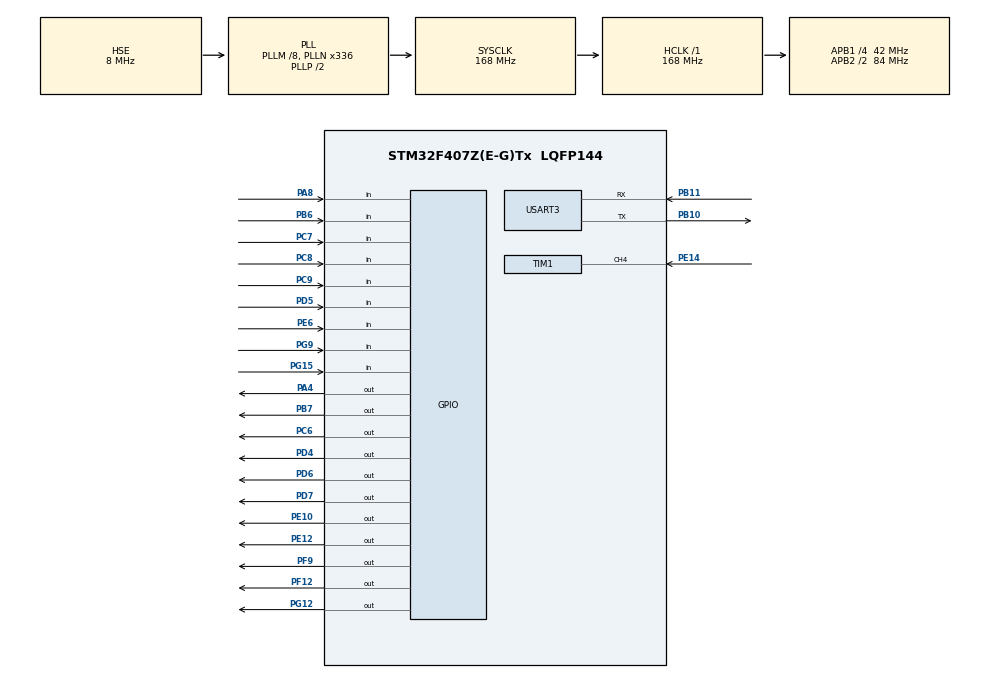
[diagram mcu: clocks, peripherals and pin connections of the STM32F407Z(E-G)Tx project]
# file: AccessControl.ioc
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Mcu.Family=STM32F4
Mcu.Name=STM32F407Z(E-G)Tx
Mcu.Package=LQFP144
NVIC.PriorityGroup=NVIC_PRIORITYGROUP_4
NVIC.TIM1_CC_IRQn=true\:0\:0\:false\:false\:true\:true\:true\:true
NVIC.USART3_IRQn=true\:0\:0\:false\:false\:true\:true\:true\:true
PA13.Mode=Serial_Wire
PA13.Signal=SYS_JTMS-SWDIO
PA14.Mode=Serial_Wire
PA14.Signal=SYS_JTCK-SWCLK
PA4.Signal=GPIO_Output
PA8.GPIO_PuPd=GPIO_PULLUP
PA8.Signal=GPIO_Input
PB10.Mode=Asynchronous
PB10.Signal=USART3_TX
PB11.Mode=Asynchronous
PB11.Signal=USART3_RX
PB6.Signal=GPIO_Input
PB7.Signal=GPIO_Output
PC6.Signal=GPIO_Output
PC7.Signal=GPIO_Input
PC8.GPIO_PuPd=GPIO_PULLUP
PC8.Signal=GPIO_Input
PC9.Signal=GPIO_Input
PD4.Signal=GPIO_Output
PD5.Signal=GPIO_Input
PD6.PinState=GPIO_PIN_SET
PD6.Signal=GPIO_Output
PD7.Signal=GPIO_Output
PE10.Signal=GPIO_Output
PE12.PinState=GPIO_PIN_RESET
PE12.Signal=GPIO_Output
PE14.Signal=S_TIM1_CH4
PE6.GPIO_PuPd=GPIO_PULLUP
PE6.Signal=GPIO_Input
PF12.PinState=GPIO_PIN_SET
PF12.Signal=GPIO_Output
PF9.GPIO_ModeDefaultOutputPP=GPIO_MODE_OUTPUT_PP
PF9.PinState=GPIO_PIN_SET
PF9.Signal=GPIO_Output
PG12.Signal=GPIO_Output
PG15.Signal=GPIO_Input
PG9.GPIO_PuPd=GPIO_PULLUP
PG9.Signal=GPIO_Input
PH0-OSC_IN.Mode=HSE-External-Oscillator
PH0-OSC_IN.Signal=RCC_OSC_IN
PH1-OSC_OUT.Mode=HSE-External-Oscillator
PH1-OSC_OUT.Signal=RCC_OSC_OUT
ProjectManager.HeapSize=0x200
ProjectManager.StackSize=0x400
ProjectManager.TargetToolchain=MDK-ARM V5.32
RCC.48MHZClocksFreq_Value=84000000
RCC.AHBFreq_Value=168000000
RCC.APB1CLKDivider=RCC_HCLK_DIV4
RCC.APB1Freq_Value=42000000
RCC.APB1TimFreq_Value=84000000
RCC.APB2CLKDivider=RCC_HCLK_DIV2
RCC.APB2Freq_Value=84000000
RCC.APB2TimFreq_Value=168000000
RCC.CortexFreq_Value=168000000
RCC.HCLKFreq_Value=168000000
RCC.HSE_VALUE=8000000
RCC.HSI_VALUE=16000000
RCC.LSE_VALUE=32768
RCC.PLLM=8
RCC.PLLN=336
RCC.PLLSourceVirtual=RCC_PLLSOURCE_HSE
RCC.SYSCLKFreq_VALUE=168000000
RCC.SYSCLKSource=RCC_SYSCLKSOURCE_PLLCLK
RCC.VCOOutputFreq_Value=336000000
SH.S_TIM1_CH4.0=TIM1_CH4,Input_Capture4_from_TI4
TIM1.Channel-Input_Capture4_from_TI4=TIM_CHANNEL_4
TIM1.Prescaler=167
USART3.VirtualMode=VM_ASYNC
board=custom

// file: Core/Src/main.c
/* USER CODE BEGIN Header */
/**
  ******************************************************************************
  * @file           : main.c
  * @brief          : Main program body
  ******************************************************************************
  * @attention
  *
  * Copyright (c) 2026 STMicroelectronics.
  * All rights reserved.
  *
  * This software is licensed under terms that can be found in the LICENSE file
  * in the root directory of this software component.
  * If no LICENSE file comes with this software, it is provided AS-IS.
  *
  ******************************************************************************
  */
/* USER CODE END Header */
#include "main.h"
#include "tim.h"
#include "usart.h"
#include "gpio.h"
#include "oled.h"
#include "keypad.h"
#include "rc522.h"
#include "boardkey.h"
#include "hc_sr04.h"
#include "beep.h"
#include "c4.h"
#include "stm32f4xx_hal_flash.h"
#include "stm32f4xx_hal_flash_ex.h"

/* USER CODE BEGIN PD */
#define PWD_MIN          4u
#define PWD_MAX          6u
#define PWD_OPEN_MS      2500u
#define PWD_DENY_MS      1200u

/*
 * 密码记录存放在扇区 6 (128 KB, 起始 0x08040000), 这块是空闲的: 代码本身
 * 结束在扇区 0 内, 键盘线对表用的是扇区 7.
 * 共三个字: magic | 长度 + 前三个字符 | 后三个字符
 */
#define PWD_SAVE_ADDR    0x08040000u
#define PWD_SAVE_SECTOR  FLASH_SECTOR_6
#define PWD_SAVE_MAGIC   0x50574433u

/* 配对的 RFID 门卡存放在扇区 5 (128 KB, 起始 0x08020000) */
#define RFID_SAVE_ADDR   0x08020000u
#define RFID_SAVE_SECTOR FLASH_SECTOR_5
#define RFID_SAVE_MAGIC  0x52464944u

/* 待机界面分散在这么多块 128x64 屏幕上; 用 S1/S2 翻页 */
#define PAGE_NUM         4u

/*
 * 接近门控. 屏幕和读卡器只在有人站在门前时才工作: 距离小于 PROX_NEAR_CM 时一切
 * 保持唤醒, 超过该距离持续 PROX_FAR_MS 就熄屏, 并让 CPU 在两次测量之间进睡眠.
 */
#define PROX_NEAR_CM     50u
#define PROX_FAR_MS      1200u
#define PROX_POLL_MS     300u

/* 按键后屏幕保持点亮这么久, 不论超声波怎么判断 */
#define PROX_KEY_HOLD_MS 6000u

/* USER CODE END PD */

/* USER CODE BEGIN PV */
/* 出厂密码; 一旦 Flash 里存过密码记录, 就用记录替换它 */
static char    g_pwd[PWD_MAX] = { '1', '2', '3', '4', 0, 0 };
static uint8_t g_pwd_len = 4u;
static char    g_buf[PWD_MAX];
static uint8_t g_len  = 0u;
static uint8_t g_fail = 0u;

/* 配对的卡: g_card 存 UID0..UID3 加 BCC 校验字节, g_card_ok 表示它有效 */
static uint8_t g_card[RC522_UID_LEN];
static uint8_t g_card_ok = 0u;
static uint8_t g_rfid_ok  = 0u;
static uint8_t g_rfid_ver = 0u;
static uint8_t g_page     = 0u;

/* 接近检测 / 功耗状态 */
static uint8_t  g_disp_on   = 1u;
static uint16_t g_far_ms    = 0u;
static uint32_t g_prox_tick = 0u;

/* 最近一次刷卡结果: 0 无, 1 匹配, 2 拒绝 (供刷卡页显示) */
static uint8_t g_last_rfid = 0u;
/* 由单卡拒卡自检置起; 只存在 RAM, 从不写入 Flash */
static uint8_t g_rfid_test = 0u;

/* 最近一次超声波读数, 与距离页共用 */
static uint16_t g_dist_cm = 0u;
static uint8_t  g_dist_ok = 0u;
/* 距离页已经显示的内容, 内容没变就不重写 */
static char     g_shown_val[16];
static uint8_t  g_shown_msg  = 0u;
static uint16_t g_shown_w    = 0xFFFFu;
static uint8_t  g_shown_hits = 0xFFu;
static uint16_t g_hold_ms = 0u;

/* 开机自检 / 首页故障页状态:
   g_fault_shown     当前屏上画的就是故障页;
   g_fault_latch     上一次判过的"有模块缺失"状态, 用来抓上升沿和下降沿;
   g_fault_slot      多个模块同时缺失时, 单行报错在这些缺失项之间轮转;
   g_fault_tick      轮转计时;
   g_rfid_check_tick 读卡器缺失期间重新探测的计时. */
static uint8_t  g_fault_shown     = 0u;
static uint8_t  g_fault_latch     = 0u;
static uint8_t  g_fault_slot      = 0u;
static uint32_t g_fault_tick      = 0u;
static uint32_t g_rfid_check_tick = 0u;
/* USER CODE END PV */

void SystemClock_Config(void);

/* USER CODE BEGIN 0 */
static void App_CenterCN(uint8_t page, const uint8_t *seq, uint8_t num)
{
    uint16_t w = (uint16_t)num * 16u;
    uint8_t  x = (w >= 128u) ? 0u : (uint8_t)((128u - w) / 2u);

    OLED_ClearArea(0u, page, 127u, (uint8_t)(page + 1u));
    OLED_ShowCNSeq(x, page, seq, num);
}

static void App_DrawTitle(void)
{
    static const uint8_t title[] = { G_QING, G_SHU, G_RU, G_MI, G_MA };

    App_CenterCN(0u, title, 5u);
}

/* 键盘只提供十个数字和四个字母键, 别的都没有 */
static uint8_t App_CharOk(char c)
{
    if ((c >= '0') && (c <= '9'))
    {
        return 1u;
    }
    if ((c >= 'A') && (c <= 'D'))
    {
        return 1u;
    }

    return 0u;
}

static void App_DrawPwdLine(uint8_t page, const char *buf, uint8_t len)
{
    uint8_t i;

    OLED_ClearArea(0u, page, 127u, (uint8_t)(page + 1u));
    OLED_ShowString(16u, page, "PWD");
    for (i = 0u; i < PWD_MAX; i++)
    {
        OLED_ShowChar((uint8_t)(56u + i * 8u), page, (i < len) ? buf[i] : '_');
    }
}

static void App_DrawPwd(void)
{
    App_DrawPwdLine(2u, g_buf, g_len);
}

static void App_DrawHint(void)
{
    OLED_ClearArea(0u, 6u, 127u, 7u);
    OLED_ShowString(0u, 6u, "*CLR #:OK  S1/S2");
}

static void App_ResetInput(void)
{
    uint8_t i;

    for (i = 0u; i < PWD_MAX; i++)
    {
        g_buf[i] = 0;
    }
    g_len = 0u;
}

static void App_ShowOpen(void)
{
    static const uint8_t t1[] = { G_YI, G_KAI, G_MEN };
    static const uint8_t t2[] = { G_CHENG, G_GONG };

    OLED_Clear();
    App_CenterCN(0u, t1, 3u);
    OLED_ShowString(44u, 4u, "OPEN");
    OLED_ShowCNSeq(48u, 6u, t2, 2u);
}

static void App_ShowWrong(void)
{
    static const uint8_t t1[] = { G_MI, G_MA, G_CUO, G_WU };

    OLED_Clear();
    App_CenterCN(0u, t1, 4u);
    OLED_ShowString(56u, 4u, "RETRY");
}

static void App_ShowLock(void)
{
    static const uint8_t t1[] = { G_MI, G_MA, G_CUO, G_WU };
    static const uint8_t t2[] = { G_SUO, G_DING };

    OLED_Clear();
    App_CenterCN(0u, t1, 4u);
    App_CenterCN(4u, t2, 2u);
    OLED_ShowString(56u, 6u, "3s");
}

/* ------------------------------------------------------- idle pages */
static void App_PagePwd(void);
static void App_PageRfid(void);
static void App_PageDist(void);
static void App_PageHelp(void);
static void App_PageFault(void);

static void App_HexByte(char *out, uint8_t value)
{
    static const char HEXDIG[] = "0123456789ABCDEF";

    out[0] = HEXDIG[(value >> 4) & 0x0Fu];
    out[1] = HEXDIG[value & 0x0Fu];
}

/* --------------------------------------------------------------- 开机自检
 *
 * 自检只覆盖"软件能电气回读"的模块:
 *   HC-SR04 : 回波线空闲时由模块推挽拉低, 拔掉即浮空. hc_sr04.c 的上拉电平探测
 *             连续 3 次拿不到回波就复核一次, 结论写进 g_sr04.absent.
 *   RC522   : VersionReg 读到 0x00 / 0xFF 说明 SPI 上没人应答,
 *             RC522_Init() 返回 0; 缺失期间每 SELFCHECK_RFID_MS 重探一次.
 *
 * 4x4 薄膜键盘是纯干接点 (按下只是两根线短接), 蜂鸣器和 OLED 只有写通道,
 * 这三者在软件层面无法判断"到底插没插", 因此不进自检表, 它们坏了靠现象发现.
 *
 * 报错格式: 一条 !(具体器件)! , 全大写 ASCII, 整行不超过 16 个 8x16 字符.
 * 多个模块同时缺失时, 单行报错按 SELFCHECK_CYCLE_MS 轮转, 保证每个缺失的
 * 器件都能被看到, 同时不破坏"故障页只占一行"这条约定.
 */
#define SELFCHECK_NUM           2u
#define SELFCHECK_CYCLE_MS      2000u
/* 读卡器在位巡检周期: 在位时回读 VersionReg, 缺失时重新初始化, 都按这个节拍 */
#define SELFCHECK_RFID_POLL_MS  1000u

/* 每一位对应一个自检项, 位序与 App_FaultName() 里的顺序一致 */
#define SELFCHECK_BIT_SR04  0x01u
#define SELFCHECK_BIT_RFID  0x02u

static uint8_t App_FaultMask(void)
{
    uint8_t mask = 0u;

    if (g_sr04.absent != 0u)
    {
        mask |= SELFCHECK_BIT_SR04;
    }
    if (g_rfid_ok == 0u)
    {
        mask |= SELFCHECK_BIT_RFID;
    }

    return mask;
}

static uint8_t App_FaultActive(void)
{
    return (App_FaultMask() != 0u) ? 1u : 0u;
}

static uint8_t App_FaultCount(uint8_t mask)
{
    uint8_t n = 0u;
    uint8_t i;

    for (i = 0u; i < SELFCHECK_NUM; i++)
    {
        if ((mask & (uint8_t)(1u << i)) != 0u)
        {
            n++;
        }
    }

    return n;
}

/* 取第 slot 个缺失项的名字; 调用前必须保证 slot < App_FaultCount(mask) */
static const char *App_FaultName(uint8_t mask, uint8_t slot)
{
    uint8_t seen = 0u;
    uint8_t i;

    for (i = 0u; i < SELFCHECK_NUM; i++)
    {
        if ((mask & (uint8_t)(1u << i)) == 0u)
        {
            continue;
        }
        if (seen == slot)
        {
            return (i == 0u) ? "!(NO HC-SR04)!" : "!(NO RC522)!";
        }
        seen++;
    }

    return "!(SELFCHECK)!";
}

/* 硬件故障页. 自检发现模块缺失时, 首页画的就是这一页, 密码页被顶下去.
 * 只画一行, 而且必须点名是哪个器件缺失; 不附操作提示行.
 */
static void App_PageFault(void)
{
    uint8_t     mask = App_FaultMask();
    uint8_t     cnt  = App_FaultCount(mask);
    const char *err;
    uint8_t     len = 0u;
    uint8_t     x;

    if (cnt == 0u)
    {
        return;
    }

    err = App_FaultName(mask, (uint8_t)(g_fault_slot % cnt));

    while ((err[len] != '\0') && (len < 16u))
    {
        len++;
    }

    x = (uint8_t)((128u - ((uint16_t)len * 8u)) / 2u);

    OLED_Clear();
    OLED_ShowString(x, 3u, err);

    g_fault_shown = 1u;
}

static void App_PagePwd(void)
{
    App_DrawTitle();
    App_DrawPwd();

    OLED_ClearArea(0u, 4u, 127u, 5u);
    OLED_ShowString(0u, 4u, (g_rfid_ok != 0u) ? "#=CHG  RFID ON" : "#=CHG  RFID --");

    App_DrawHint();
}

static void App_PageRfid(void)
{
    char    line[17];
    uint8_t i;

    OLED_ShowString(20u, 0u, "RFID STATUS");

    /* 读到 0x00 / 0xFF 说明 SPI 这几根引脚没在读卡器上通信 */
    if (g_rfid_ok != 0u)
    {
        line[0] = 'V';
        line[1] = 'E';
        line[2] = 'R';
        line[3] = ' ';
        line[4] = '0';
        line[5] = 'x';
        App_HexByte(&line[6], g_rfid_ver);
        line[8] = '\0';
    }
    else
    {
        line[0] = 'N';
        line[1] = 'O';
        line[2] = ' ';
        line[3] = 'R';
        line[4] = 'E';
        line[5] = 'A';
        line[6] = 'D';
        line[7] = 'E';
        line[8] = 'R';
        line[9] = '\0';
    }
    OLED_ShowString(0u, 2u, line);

    line[0] = 'U';
    line[1] = 'I';
    line[2] = 'D';
    line[3] = ' ';
    if (g_card_ok != 0u)
    {
        for (i = 0u; i < 4u; i++)
        {
            App_HexByte(&line[4u + (i * 3u)], g_card[i]);
            if (i < 3u)
            {
                line[6u + (i * 3u)] = ' ';
            }
        }
        line[15] = '\0';
    }
    else
    {
        line[4]  = '-';
        line[5]  = '-';
        line[6]  = ' ';
        line[7]  = 'N';
        line[8]  = 'O';
        line[9]  = ' ';
        line[10] = 'C';
        line[11] = 'A';
        line[12] = 'R';
        line[13] = 'D';
        line[14] = '\0';
    }
    OLED_ShowString(0u, 4u, line);

    /* 手上只有一张卡时也能验证拒卡路径: 按 D 把一个错误 UID 只写进 RAM,
       再刷卡应当显示 TEST DENY OK */
    if (g_rfid_test != 0u)
    {
        OLED_ShowString(0u, 6u, (g_last_rfid == 2u) ? "TEST DENY  OK" : "TEST SWIPE CARD");
        return;
    }

    /* 最近一次刷卡结果, 这样手上没有第二张卡也能核对拒卡 */
    line[0] = 'L';
    line[1] = 'A';
    line[2] = 'S';
    line[3] = 'T';
    line[4] = ' ';
    if (g_last_rfid == 1u)
    {
        line[5] = 'M';
        line[6] = 'A';
        line[7] = 'T';
        line[8] = 'C';
        line[9] = 'H';
        line[10] = '\0';
    }
    else if (g_last_rfid == 2u)
    {
        line[5] = 'D';
        line[6] = 'E';
        line[7] = 'N';
        line[8] = 'Y';
        line[9] = ' ';
        line[10] = '\0';
    }
    else
    {
        line[5] = '-';
        line[6] = '-';
        line[7] = '-';
        line[8] = '\0';
    }
    OLED_ShowString(24u, 6u, line);
}

/* 以米为单位保留两位小数; 该模块量程约 5 m, 小数点前一位数字就够 */
static void App_FormatMeters(char *out, uint8_t valid, uint16_t cm)
{
    uint8_t whole;
    uint8_t frac;

    if (valid == 0u)
    {
        out[0] = '-';
        out[1] = '.';
        out[2] = '-';
        out[3] = '-';
        out[4] = ' ';
        out[5] = 'm';
        out[6] = '\0';
        return;
    }

    whole = (uint8_t)(cm / 100u);
    frac  = (uint8_t)(cm % 100u);

    out[0] = (char)('0' + whole);
    out[1] = '.';
    out[2] = (char)('0' + (frac / 10u));
    out[3] = (char)('0' + (frac % 10u));
    out[4] = ' ';
    out[5] = 'm';
    out[6] = '\0';
}

/* 只有文字真的变了才重写这一行: 每多写一次就多一次把列指针搞乱的机会,
   而列指针一旦跑偏, 整块屏就会变成错位的乱码字形. */
static uint8_t App_TextChanged(char *cache, const char *text)
{
    uint8_t i = 0u;
    uint8_t changed = 0u;

    for (;;)
    {
        if (cache[i] != text[i])
        {
            changed = 1u;
            cache[i] = text[i];
        }
        if (text[i] == 0)
        {
            return changed;
        }
        i++;
        if (i >= 15u)
        {
            return changed;
        }
    }
}

/* 每个状态行一个编码, 内容没变就跳过重绘 */
static uint8_t App_DistMsgCode(void)
{
    if (g_sr04.absent != 0u)
    {
        return 5u;
    }
    if (g_sr04.idle_high != 0u)
    {
        return 1u;
    }
    if (g_dist_ok == 0u)
    {
        return 2u;
    }

    return (g_dist_cm < PROX_NEAR_CM) ? 3u : 4u;
}

/* 只重画发生变化的那几行, 实时页才不会每次轮询都闪一下 */
static void App_DistRefresh(void)
{
    char     line[8];
    char     diag[17];
    uint16_t w;

    App_FormatMeters(line, g_dist_ok, g_dist_cm);
    if (App_TextChanged(g_shown_val, line) != 0u)
    {
        OLED_ClearArea(32u, 2u, 127u, 3u);
        OLED_ShowString(40u, 2u, line);
    }

    if (App_DistMsgCode() != g_shown_msg)
    {
        g_shown_msg = App_DistMsgCode();
        OLED_ClearArea(0u, 4u, 127u, 5u);

        if (g_shown_msg == 1u)
        {
            OLED_ShowString(12u, 4u, "!(STUCK HIGH)!");
        }
        else if (g_shown_msg == 2u)
        {
            OLED_ShowString(20u, 4u, "!(NO ECHO)!");
        }
        else if (g_shown_msg == 3u)
        {
            OLED_ShowString(0u, 4u, "NEAR <0.50m");
        }
        else if (g_shown_msg == 4u)
        {
            OLED_ShowString(0u, 4u, "FAR >=0.50m");
        }
        else
        {
            /* 模块不在位: 两行都按统一的 !(报错)! 格式写, 并点名具体器件 */
            OLED_ShowString(8u, 4u, "!(NO HC-SR04)!");
            OLED_ClearArea(0u, 6u, 127u, 7u);
            OLED_ShowString(12u, 6u, "!(CHECK WIRE)!");
        }

        /* 诊断行可能被报错占用过, 状态一变就强制重画一次 */
        g_shown_w    = 0xFFFFu;
        g_shown_hits = 0xFFu;
    }

    /* W 是上一段回波脉宽的微秒数, H 是回波真正升起过的次数.
       H 一直停在 00 说明触发脉冲根本没送到模块, 问题在 VCC/Trig/GND 而不在代码. */
    if (g_sr04.absent != 0u)
    {
        /* 诊断行现在显示的是模块缺失报错, 不能再被 W/H 覆盖 */
        return;
    }

    w = g_sr04.width_us;
    diag[0]  = 'W';
    diag[1]  = ':';
    diag[2]  = (char)('0' + ((w / 1000u) % 10u));
    diag[3]  = (char)('0' + ((w / 100u) % 10u));
    diag[4]  = (char)('0' + ((w / 10u) % 10u));
    diag[5]  = (char)('0' + (w % 10u));
    diag[6]  = 'u';
    diag[7]  = 's';
    diag[8]  = ' ';
    diag[9]  = 'H';
    diag[10] = ':';
    diag[11] = (char)('0' + ((g_sr04.hits / 10u) % 10u));
    diag[12] = (char)('0' + (g_sr04.hits % 10u));
    diag[13] = '\0';
    if ((w != g_shown_w) || (g_sr04.hits != g_shown_hits))
    {
        g_shown_w    = w;
        g_shown_hits = g_sr04.hits;
        OLED_ClearArea(0u, 6u, 127u, 7u);
        OLED_ShowString(8u, 6u, diag);
    }
}

static void App_PageDist(void)
{
    OLED_ShowString(24u, 0u, "ULTRASONIC");

    /* 屏幕刚被清空, 所以每个缓存行都得重新画一遍 */
    g_shown_val[0] = 0;
    g_shown_msg    = 0u;
    g_shown_w      = 0xFFFFu;
    g_shown_hits   = 0xFFu;

    App_DistRefresh();
}

static void App_PageHelp(void)
{
    OLED_ShowString(44u, 0u, "HELP");

    OLED_ShowString(0u, 2u, "0-9 A-D = INPUT");

    OLED_ShowString(0u, 4u, "*CLR  # = OPEN");

    OLED_ShowString(0u, 6u, "EMPTY# =CHG PWD");
}

static void App_ShowIdle(void)
{
    /* 首页优先级最高: 自检发现任一模块缺失时, 密码页让位给故障页.
       按键后的保持期内仍显示密码页, 免得模块坏了连门都进不去. */
    if ((g_page == 0u) && (App_FaultActive() != 0u) && (g_hold_ms == 0u))
    {
        App_PageFault();
        return;
    }

    g_fault_shown = 0u;

    OLED_Clear();

    if (g_page == 1u)
    {
        App_PageRfid();
    }
    else if (g_page == 2u)
    {
        App_PageDist();
    }
    else if (g_page == 3u)
    {
        App_PageHelp();
    }
    else
    {
        App_PagePwd();
    }
}

static void App_SwitchPage(uint8_t forward)
{
    if (forward != 0u)
    {
        g_page++;
        if (g_page >= PAGE_NUM)
        {
            g_page = 0u;
        }
    }
    else
    {
        g_page = (g_page == 0u) ? (uint8_t)(PAGE_NUM - 1u) : (uint8_t)(g_page - 1u);
    }

    App_ShowIdle();
}

static void App_LoadPwd(void)
{
    const volatile uint32_t *src = (const volatile uint32_t *)PWD_SAVE_ADDR;
    uint32_t w1;
    uint32_t w2;
    uint8_t  len;
    uint8_t  i;

    if (src[0] != PWD_SAVE_MAGIC)
    {
        return;
    }

    w1  = src[1];
    w2  = src[2];
    len = (uint8_t)(w1 & 0xFFu);

    if ((len < PWD_MIN) || (len > PWD_MAX))
    {
        return;
    }

    for (i = 0u; i < PWD_MAX; i++)
    {
        char c;

        if (i < 3u)
        {
            c = (char)((w1 >> (8u * (i + 1u))) & 0xFFu);
        }
        else
        {
            c = (char)((w2 >> (8u * (i - 3u))) & 0xFFu);
        }

        if (i < len)
        {
            if (App_CharOk(c) == 0u)
            {
                return;
            }
            g_pwd[i] = c;
        }
        else
        {
            g_pwd[i] = 0;
        }
    }

    g_pwd_len = len;
}

static uint8_t App_SavePwd(const char *pwd, uint8_t len)
{
    FLASH_EraseInitTypeDef erase = {0};
    uint32_t sector_error = 0u;
    uint32_t words[3];
    uint32_t w1 = 0u;
    uint32_t w2 = 0u;
    uint8_t  i;
    uint8_t  ok = 1u;
    const volatile uint32_t *chk = (const volatile uint32_t *)PWD_SAVE_ADDR;

    if ((len < PWD_MIN) || (len > PWD_MAX))
    {
        return 0u;
    }

    w1 = (uint32_t)len;
    for (i = 0u; i < 3u; i++)
    {
        w1 |= ((uint32_t)(uint8_t)pwd[i]) << (8u * (i + 1u));
    }
    for (i = 3u; i < PWD_MAX; i++)
    {
        w2 |= ((uint32_t)(uint8_t)pwd[i]) << (8u * (i - 3u));
    }

    words[0] = PWD_SAVE_MAGIC;
    words[1] = w1;
    words[2] = w2;

    HAL_FLASH_Unlock();
    __HAL_FLASH_CLEAR_FLAG(FLASH_FLAG_EOP | FLASH_FLAG_OPERR | FLASH_FLAG_WRPERR |
                           FLASH_FLAG_PGAERR | FLASH_FLAG_PGPERR | FLASH_FLAG_PGSERR);

    erase.TypeErase    = FLASH_TYPEERASE_SECTORS;
    erase.Sector       = PWD_SAVE_SECTOR;
    erase.NbSectors    = 1u;
    erase.VoltageRange = FLASH_VOLTAGE_RANGE_3;

    if (HAL_FLASHEx_Erase(&erase, &sector_error) != HAL_OK)
    {
        ok = 0u;
    }

    for (i = 0u; (i < 3u) && (ok != 0u); i++)
    {
        if (HAL_FLASH_Program(FLASH_TYPEPROGRAM_WORD, PWD_SAVE_ADDR + ((uint32_t)i * 4u),
                              (uint64_t)words[i]) != HAL_OK)
        {
            ok = 0u;
        }
    }

    HAL_FLASH_Lock();

    if (ok != 0u)
    {
        for (i = 0u; i < 3u; i++)
        {
            if (chk[i] != words[i])
            {
                ok = 0u;
                break;
            }
        }
    }

    return ok;
}

/*
 * 从键盘读入一次密码. 只排三行, 正好放进 128x64 的屏: 标题在第 0-1 页, 输入位
 * 在第 2-3 页, 按键说明在第 6-7 页.
 */
static uint8_t App_ReadPwd(const uint8_t *title, uint8_t tnum, char *out, uint8_t *outlen)
{
    uint8_t i;
    uint8_t len = 0u;
    char    key;
    char    ch;

    for (i = 0u; i < PWD_MAX; i++)
    {
        out[i] = 0;
    }

    OLED_Clear();
    App_CenterCN(0u, title, tnum);

    for (;;)
    {
        OLED_ClearArea(0u, 2u, 127u, 3u);
        OLED_ShowString(16u, 2u, "PWD");
        for (i = 0u; i < PWD_MAX; i++)
        {
            ch = (i < len) ? out[i] : '_';
            OLED_ShowChar((uint8_t)(56u + i * 8u), 2u, ch);
        }

        OLED_ClearArea(0u, 6u, 127u, 7u);
        OLED_ShowString(0u, 6u, "*:BACK #:NEXT");

        key = Keypad_Scan();
        if (key == 0)
        {
            continue;
        }

        if (key == '*')
        {
            return 0u;
        }
        if (key == '#')
        {
            if (len >= PWD_MIN)
            {
                *outlen = len;
                return 1u;
            }
            continue;
        }
        if ((App_CharOk(key) != 0u) && (len < PWD_MAX))
        {
            out[len] = key;
            len++;
        }
    }
}

static void App_ChangePwd(void)
{
    static const uint8_t t_old[]   = { G_JIU, G_MI, G_MA };
    static const uint8_t t_new[]   = { G_XIN, G_MI, G_MA };
    static const uint8_t t_again[] = { G_ZAI, G_CI, G_SHU, G_RU };
    static const uint8_t t_done[]  = { G_MI, G_MA, G_YI, G_XIU, G_GAI };
    char    a[PWD_MAX];
    char    b[PWD_MAX];
    uint8_t la = 0u;
    uint8_t lb = 0u;
    uint8_t i;
    uint8_t ok;

    if (App_ReadPwd(t_old, 3u, a, &la) == 0u)
    {
        App_ShowIdle();
        return;
    }

    ok = (la == g_pwd_len) ? 1u : 0u;
    for (i = 0u; (i < la) && (ok != 0u); i++)
    {
        if (a[i] != g_pwd[i])
        {
            ok = 0u;
        }
    }

    if (ok == 0u)
    {
        OLED_Clear();
        OLED_ShowString(0u, 2u, "OLD PWD WRONG");
        HAL_Delay(1500u);
        App_ShowIdle();
        return;
    }

    if (App_ReadPwd(t_new, 3u, a, &la) == 0u)
    {
        App_ShowIdle();
        return;
    }

    if (App_ReadPwd(t_again, 4u, b, &lb) == 0u)
    {
        App_ShowIdle();
        return;
    }

    ok = (la == lb) ? 1u : 0u;
    for (i = 0u; (i < la) && (ok != 0u); i++)
    {
        if (a[i] != b[i])
        {
            ok = 0u;
        }
    }

    if (ok == 0u)
    {
        OLED_Clear();
        OLED_ShowString(8u, 2u, "MISMATCH");
        OLED_ShowString(4u, 4u, "NOT SAVED");
        HAL_Delay(1500u);
        App_ShowIdle();
        return;
    }

    if (App_SavePwd(a, la) == 0u)
    {
        OLED_Clear();
        OLED_ShowString(4u, 2u, "SAVE FAILED");
        HAL_Delay(1500u);
        App_ShowIdle();
        return;
    }

    for (i = 0u; i < PWD_MAX; i++)
    {
        g_pwd[i] = a[i];
    }
    g_pwd_len = la;

    OLED_Clear();
    App_CenterCN(0u, t_done, 5u);
    OLED_ShowString(28u, 4u, "SAVED");
    HAL_Delay(1500u);
    App_ShowIdle();
}

static void App_WaitAllKeysReleased(void)
{
    uint8_t a = 0u;
    uint8_t b = 0u;

    while (Keypad_RawPair(&a, &b) != 0u)
    {
        HAL_Delay(KEYPAD_RELEASE_MS);
    }
}

static void App_ShowCardMsg(const char *msg)
{
    OLED_ClearArea(0u, 4u, 127u, 5u);
    OLED_ShowString(0u, 4u, msg);
}

static void App_LoadCard(void)
{
    const volatile uint32_t *src = (const volatile uint32_t *)RFID_SAVE_ADDR;
    uint32_t w;
    uint8_t  i;
    uint8_t  checksum;

    if (src[0] != RFID_SAVE_MAGIC)
    {
        return;
    }

    w = src[1];
    for (i = 0u; i < RC522_UID_LEN; i++)
    {
        g_card[i] = (uint8_t)((w >> (8u * i)) & 0xFFu);
    }

    checksum = (uint8_t)(g_card[0] ^ g_card[1] ^ g_card[2] ^ g_card[3]);
    if ((checksum != g_card[4]) || ((g_card[0] | g_card[1] | g_card[2] | g_card[3]) == 0u))
    {
        while (i != 0u)
        {
            i--;
            g_card[i] = 0u;
        }
        return;
    }

    g_card_ok = 1u;
}

static uint8_t App_SaveCard(const uint8_t *uid)
{
    FLASH_EraseInitTypeDef erase = {0};
    uint32_t sector_error = 0u;
    uint32_t words[2];
    uint32_t w = 0u;
    uint8_t  i;
    uint8_t  ok = 1u;
    const volatile uint32_t *chk = (const volatile uint32_t *)RFID_SAVE_ADDR;

    for (i = 0u; i < RC522_UID_LEN; i++)
    {
        w |= ((uint32_t)uid[i]) << (8u * i);
    }
    words[0] = RFID_SAVE_MAGIC;
    words[1] = w;

    HAL_FLASH_Unlock();
    __HAL_FLASH_CLEAR_FLAG(FLASH_FLAG_EOP | FLASH_FLAG_OPERR | FLASH_FLAG_WRPERR |
                           FLASH_FLAG_PGAERR | FLASH_FLAG_PGPERR | FLASH_FLAG_PGSERR);

    erase.TypeErase    = FLASH_TYPEERASE_SECTORS;
    erase.Sector       = RFID_SAVE_SECTOR;
    erase.NbSectors    = 1u;
    erase.VoltageRange = FLASH_VOLTAGE_RANGE_3;

    if (HAL_FLASHEx_Erase(&erase, &sector_error) != HAL_OK)
    {
        ok = 0u;
    }

    for (i = 0u; (i < 2u) && (ok != 0u); i++)
    {
        if (HAL_FLASH_Program(FLASH_TYPEPROGRAM_WORD, RFID_SAVE_ADDR + ((uint32_t)i * 4u),
                              (uint64_t)words[i]) != HAL_OK)
        {
            ok = 0u;
        }
    }

    HAL_FLASH_Lock();

    if (ok != 0u)
    {
        for (i = 0u; i < 2u; i++)
        {
            if (chk[i] != words[i])
            {
                ok = 0u;
                break;
            }
        }
    }

    if (ok != 0u)
    {
        for (i = 0u; i < RC522_UID_LEN; i++)
        {
            g_card[i] = uid[i];
        }
        g_card_ok = 1u;
    }

    return ok;
}

static void App_ClearCard(void)
{
    FLASH_EraseInitTypeDef erase = {0};
    uint32_t sector_error = 0u;
    uint8_t  i;

    HAL_FLASH_Unlock();
    __HAL_FLASH_CLEAR_FLAG(FLASH_FLAG_EOP | FLASH_FLAG_OPERR | FLASH_FLAG_WRPERR |
                           FLASH_FLAG_PGAERR | FLASH_FLAG_PGPERR | FLASH_FLAG_PGSERR);

    erase.TypeErase    = FLASH_TYPEERASE_SECTORS;
    erase.Sector       = RFID_SAVE_SECTOR;
    erase.NbSectors    = 1u;
    erase.VoltageRange = FLASH_VOLTAGE_RANGE_3;

    (void)HAL_FLASHEx_Erase(&erase, &sector_error);
    HAL_FLASH_Lock();

    for (i = 0u; i < RC522_UID_LEN; i++)
    {
        g_card[i] = 0u;
    }
    g_card_ok = 0u;
}

static void App_WaitCardRemoved(void)
{
    uint8_t uid[RC522_UID_LEN];
    uint8_t n;

    for (n = 0u; n < 40u; n++)
    {
        if (RC522_ReadCard(uid) == 0u)
        {
            return;
        }
        HAL_Delay(50u);
    }
}

static void App_RfidPoll(void)
{
    uint8_t uid[RC522_UID_LEN];
    uint8_t i;
    uint8_t ok;

    if (g_rfid_ok == 0u)
    {
        return;
    }

    if (RC522_ReadCard(uid) == 0u)
    {
        return;
    }

    /* 还没配卡: 第一次刷到的卡就自动成为门卡 */
    if (g_card_ok == 0u)
    {
        App_ShowCardMsg((App_SaveCard(uid) != 0u) ? "CARD PAIRED" : "PAIR FAILED");
        HAL_Delay(1200u);
        App_WaitCardRemoved();
        App_ResetInput();
        App_ShowIdle();
        return;
    }

    ok = 1u;
    for (i = 0u; i < RC522_UID_LEN; i++)
    {
        if (uid[i] != g_card[i])
        {
            ok = 0u;
        }
    }

    if (ok != 0u)
    {
        g_fail     = 0u;
        g_last_rfid = 1u;
        App_ShowOpen();
        HAL_Delay(PWD_OPEN_MS);
    }
    else
    {
        g_last_rfid = 2u;
        App_ShowCardMsg("CARD DENIED");
        HAL_Delay(PWD_DENY_MS);
    }

    App_WaitCardRemoved();
    App_ResetInput();
    App_ShowIdle();
}

static void App_RfidSelfTest(void)
{
    if ((g_card_ok == 0u) || (g_rfid_ok == 0u))
    {
        return;
    }

    /* 只在 RAM 里翻转 UID 的一个字节. 此时刷配对卡必须被拒绝, 这是手上只有
       一张卡时验证拒卡路径的唯一办法. 全程不写 Flash, 所以断电重启后真实 UID
       恢复, 那张卡照样能开门. */
    g_card[0]   = (uint8_t)(g_card[0] ^ 0x5Au);
    g_rfid_test = 1u;
    g_last_rfid = 0u;
    App_ShowIdle();
}

/* ------------------------------------------------------ power gating */
static void App_DisplaySet(uint8_t on)
{
    if (on != 0u)
    {
        if (g_disp_on == 0u)
        {
            OLED_DisplayOn();
            g_disp_on = 1u;
            g_far_ms  = 0u;
            App_ShowIdle();
        }
    }
    else
    {
        if (g_disp_on != 0u)
        {
            OLED_DisplayOff();
            g_disp_on = 0u;
        }
    }
}

/* 每次按键都让面板自己保持点亮一段时间, 这样即使没人在半米内站着,
   翻页和输密码也照常可用. */
static void App_WakeByKey(void)
{
    g_hold_ms = PROX_KEY_HOLD_MS;
    App_DisplaySet(1u);
}

static void App_PowerPoll(void)
{
    uint16_t cm   = 0u;
    uint32_t now;
    uint8_t  near = 0u;
    uint8_t  ver  = 0u;

    now = HAL_GetTick();

    if ((uint32_t)(now - g_prox_tick) < PROX_POLL_MS)
    {
        /* 两次测量之间没有别的事可做: 让内核睡到下一个 SysTick,
           不要在这里空转主循环 */
        if (g_disp_on == 0u)
        {
            HAL_PWR_EnterSLEEPMode(PWR_MAINREGULATOR_ON, PWR_SLEEPENTRY_WFI);
        }
        return;
    }
    g_prox_tick = now;

    /* 完全没有回波意味着最近的目标已超出模块约 4 m 的量程, 或者模块被拔掉了;
       两者都按门口没人处理, 于是面板熄灭. 任何一次按键都能把面板重新点亮,
       所以传感器坏掉也不会让门禁一直黑着没法用. */
    if (HCSR04_MeasureCm(&cm) != 0u)
    {
        g_dist_ok = 1u;
        g_dist_cm = cm;
        near = (cm < PROX_NEAR_CM) ? 1u : 0u;
    }
    else
    {
        g_dist_ok = 0u;
    }

    /* 读卡器在位巡检. g_rfid_ok 只在上电 RC522_Init() 时置位, 运行中把模块拔掉
       它自己不会变, 所以必须周期回读一次 VersionReg: 读到 0x00 / 0xFF 说明 SPI 上
       没人应答, 当场清 g_rfid_ok 让故障页接管; 缺失期间再按同一节拍 RC522_Init()
       重新初始化, 插回来就恢复. 两种情况都不需要按 RESET. */
    if ((uint32_t)(now - g_rfid_check_tick) >= SELFCHECK_RFID_POLL_MS)
    {
        g_rfid_check_tick = now;

        if (g_rfid_ok != 0u)
        {
            ver = RC522_GetVersion();

            if ((ver == 0x00u) || (ver == 0xFFu))
            {
                g_rfid_ok = 0u;
            }
            else
            {
                g_rfid_ver = ver;
            }
        }
        else if (RC522_Init() != 0u)
        {
            g_rfid_ok  = 1u;
            g_rfid_ver = RC522_GetVersion();
        }
    }

    /* 硬件故障 (超声波模块不在位 / 读卡器不在位) 要顶在首页上: 这里既不执行
       远离熄屏, 也不让密码页把它盖回去. 故障一出现就清保持期、跳回首页并立即
       重绘; 按键后的保持期内先让密码页可用, 保持期结束再把故障页顶回来. */
    if (App_FaultActive() != 0u)
    {
        g_far_ms = 0u;
        App_DisplaySet(1u);

        if (g_fault_latch == 0u)
        {
            g_fault_latch = 1u;
            g_hold_ms     = 0u;
            g_page        = 0u;
            g_fault_slot  = 0u;
            g_fault_tick  = now;
            App_ShowIdle();
        }
        else if (g_hold_ms > 0u)
        {
            g_hold_ms = (uint16_t)(g_hold_ms - PROX_POLL_MS);
            if (g_hold_ms == 0u)
            {
                App_ShowIdle();
            }
        }
        else if (App_FaultCount(App_FaultMask()) > 1u)
        {
            /* 多个模块同时缺失: 单行报错按固定节拍轮转, 每个都能看到 */
            if ((uint32_t)(now - g_fault_tick) >= SELFCHECK_CYCLE_MS)
            {
                g_fault_tick = now;
                g_fault_slot++;
                if ((g_page == 0u) && (g_disp_on != 0u))
                {
                    App_ShowIdle();
                }
            }
        }
        else if ((g_page == 0u) && (g_fault_shown == 0u))
        {
            App_ShowIdle();
        }

        if ((g_page == 2u) && (g_disp_on != 0u))
        {
            App_DistRefresh();
        }

        return;
    }

    /* 故障消失 (模块插回来了): 首页恢复成密码页 */
    if (g_fault_latch != 0u)
    {
        g_fault_latch = 0u;
        g_hold_ms     = 0u;
        g_fault_slot  = 0u;
        App_ShowIdle();
    }

    if (near != 0u)
    {
        g_far_ms = 0u;
        App_DisplaySet(1u);
    }
    else if (g_disp_on != 0u)
    {
        if (g_hold_ms > 0u)
        {
            g_hold_ms = (uint16_t)(g_hold_ms - PROX_POLL_MS);
            g_far_ms  = 0u;
        }
        else
        {
            if (g_far_ms <= PROX_FAR_MS)
            {
                g_far_ms = (uint16_t)(g_far_ms + PROX_POLL_MS);
            }

            /* 所有页面在持续远离后都进入熄屏状态。 */
            if (g_far_ms >= PROX_FAR_MS)
            {
                App_DisplaySet(0u);
            }
        }
    }

    /* 距离页正显示时, 持续刷新上面的实时读数 */
    if ((g_page == 2u) && (g_disp_on != 0u))
    {
        App_DistRefresh();
    }
}

static void App_HandleKey(char key)
{
    uint8_t i;
    uint8_t ok;

    /* C4 彩蛋运行期间由它独占面板和蜂鸣器 */
    if (C4_Active() != 0u)
    {
        return;
    }

    /* 刷卡页同时作为单卡拒卡自检的入口 */
    if ((g_page == 1u) && (key == 'D'))
    {
        App_RfidSelfTest();
        return;
    }

    /* 键盘按键始终作用于密码页 */
    if (g_page != 0u)
    {
        g_page = 0u;
        App_ShowIdle();
    }

    if (key == '*')
    {
        C4_Reset();
        App_ResetInput();
        App_DrawPwd();
        return;
    }

    /* 炸弹密码加 '#' 启动倒计时彩蛋, 而不是开门; 真正的密码最长六位,
       两者永远不会混淆 */
    if ((key == '#') && (C4_Take() != 0u))
    {
        App_ResetInput();
        return;
    }

    if (key == '#')
    {
        /* 什么都没输入时按 # 进入改密流程; 字母或数字键因此仍然
           可以是密码本身的一部分 */
        if (g_len == 0u)
        {
            App_ChangePwd();
            return;
        }

        ok = (g_len == g_pwd_len) ? 1u : 0u;
        for (i = 0u; (i < g_len) && (ok != 0u); i++)
        {
            if (g_buf[i] != g_pwd[i])
            {
                ok = 0u;
            }
        }

        if (ok != 0u)
        {
            g_fail = 0u;
            App_ShowOpen();
            HAL_Delay(PWD_OPEN_MS);
        }
        else
        {
            if (g_fail < 3u)
            {
                g_fail++;
            }

            if (g_fail >= 3u)
            {
                App_ResetInput();
                App_ShowLock();
                HAL_Delay(3000u);
                g_fail = 0u;
            }
            else
            {
                App_ShowWrong();
                HAL_Delay(PWD_DENY_MS);
            }
        }

        App_ResetInput();
        App_ShowIdle();
        return;
    }

    /* 炸弹密码比任何密码都长, 所以每个数字键按下时也同时收进彩蛋缓冲 */
    C4_Feed(key);

    if ((App_CharOk(key) != 0u) && (g_len < PWD_MAX))
    {
        g_buf[g_len] = key;
        g_len++;
        App_DrawPwd();
    }
}
/* USER CODE END 0 */

int main(void)
{

  /* MCU Configuration--------------------------------------------------------*/

  /* 复位所有外设, 初始化 Flash 接口和 SysTick. */
  HAL_Init();

  /* 配置系统时钟 */
  SystemClock_Config();

  /* 初始化所有已配置的外设 */
  MX_GPIO_Init();
  MX_TIM1_Init();
  MX_USART3_UART_Init();
  /* USER CODE BEGIN 2 */
  uint8_t boot_a = 0u;
  uint8_t boot_b = 0u;

  OLED_Init();
  Keypad_Init();

  /* 上电时按住任意键可清除已配对的门卡; 线对表本身不再需要现场校准,
     驱动里已经带了实测表 */
  if (Keypad_RawPair(&boot_a, &boot_b) != 0u)
  {
    App_ClearCard();
    App_WaitAllKeysReleased();
  }

  BoardKey_Init();
  HCSR04_Init();
  App_LoadPwd();
  App_LoadCard();
  g_rfid_ok         = RC522_Init();
  g_rfid_ver        = RC522_GetVersion();
  g_rfid_check_tick = HAL_GetTick();
  App_ResetInput();
  App_ShowIdle();

  /* 上电提示音: 比最初轻一半 (5% 占空比), 响三秒;
     追加在上面那段启动流程之后, 不改动它 */
  Beep_Init();
  Beep_SetVolume(BEEP_VOLUME_BOOT);
  Beep_BeepMs(BEEP_MS_BOOT);

  /* C4 彩蛋: 输入炸弹密码再按 '#' 即启动 */
  C4_Init();
  /* USER CODE END 2 */

  /* 主循环 */
  while (1)
  {

    /* USER CODE BEGIN 3 */
    char key = Keypad_Scan();
    uint8_t bk;

    if (key != 0)
    {
      /* 只要碰键盘就把屏幕唤回 */
      App_WakeByKey();
      App_HandleKey(key);

      /* 薄膜键盘每次按键给一声短提示音; 彩蛋运行期间跳过,
         免得切断倒计时音和结尾旋律 */
      if (C4_Active() == 0u)
      {
        Beep_SetVolume(BEEP_VOLUME_KEY);
        Beep_BeepMs(BEEP_MS_KEY);
      }
    }
    else
    {
      bk = BoardKey_Scan();

      if (bk != 0)
      {
        App_WakeByKey();
        App_SwitchPage((bk == BOARDKEY_S1) ? 1u : 0u);
      }
      else if (g_disp_on != 0u)
      {
        App_RfidPoll();
      }
    }

    if (C4_Active() != 0u)
    {
      /* 倒计时期间屏幕归它使用: 保持点亮 */
      App_WakeByKey();
    }

    if (C4_Poll() != 0u)
    {
      App_ShowIdle();
    }

    App_PowerPoll();
  }
  /* USER CODE END 3 */
}

/**
  * @brief 系统时钟配置
  * @retval 无
  */
void SystemClock_Config(void)
{
  RCC_OscInitTypeDef RCC_OscInitStruct = {0};
  RCC_ClkInitTypeDef RCC_ClkInitStruct = {0};

  /** 配置内部主稳压器的输出电压
  */
  __HAL_RCC_PWR_CLK_ENABLE();
  __HAL_PWR_VOLTAGESCALING_CONFIG(PWR_REGULATOR_VOLTAGE_SCALE1);

  /** 按 RCC_OscInitTypeDef 结构体里给定的参数初始化 RCC 振荡器。
  */
  RCC_OscInitStruct.OscillatorType = RCC_OSCILLATORTYPE_HSE;
  RCC_OscInitStruct.HSEState = RCC_HSE_ON;
  RCC_OscInitStruct.PLL.PLLState = RCC_PLL_ON;
  RCC_OscInitStruct.PLL.PLLSource = RCC_PLLSOURCE_HSE;
  RCC_OscInitStruct.PLL.PLLM = 8;
  RCC_OscInitStruct.PLL.PLLN = 336;
  RCC_OscInitStruct.PLL.PLLP = RCC_PLLP_DIV2;
  RCC_OscInitStruct.PLL.PLLQ = 4;
  if (HAL_RCC_OscConfig(&RCC_OscInitStruct) != HAL_OK)
  {
    Error_Handler();
  }

  /** 初始化 CPU、AHB 与 APB 总线时钟
  */
  RCC_ClkInitStruct.ClockType = RCC_CLOCKTYPE_HCLK|RCC_CLOCKTYPE_SYSCLK
                              |RCC_CLOCKTYPE_PCLK1|RCC_CLOCKTYPE_PCLK2;
  RCC_ClkInitStruct.SYSCLKSource = RCC_SYSCLKSOURCE_PLLCLK;
  RCC_ClkInitStruct.AHBCLKDivider = RCC_SYSCLK_DIV1;
  RCC_ClkInitStruct.APB1CLKDivider = RCC_HCLK_DIV4;
  RCC_ClkInitStruct.APB2CLKDivider = RCC_HCLK_DIV2;

  if (HAL_RCC_ClockConfig(&RCC_ClkInitStruct, FLASH_LATENCY_5) != HAL_OK)
  {
    Error_Handler();
  }
}

/**
  * @brief  出错时进入这个函数。
  * @retval 无
  */
void Error_Handler(void)
{
  /* USER CODE BEGIN Error_Handler_Debug */
  /* 用户可以在这里自行上报 HAL 的出错状态 */
  __disable_irq();
  while (1)
  {
  }
  /* USER CODE END Error_Handler_Debug */
}
#ifdef USE_FULL_ASSERT
/**
  * @brief  上报 assert_param 出错所在的源文件名与行号。
  * @param  file: 源文件名的指针
  * @param  line: assert_param 出错的行号
  * @retval 无
  */
void assert_failed(uint8_t *file, uint32_t line)
{
  /* USER CODE BEGIN 6 */
  /* 用户可以在这里自行上报文件名与行号,
     例如: printf("Wrong parameters value: file %s on line %d\r\n", file, line) */
  /* USER CODE END 6 */
}
#endif /* USE_FULL_ASSERT */
